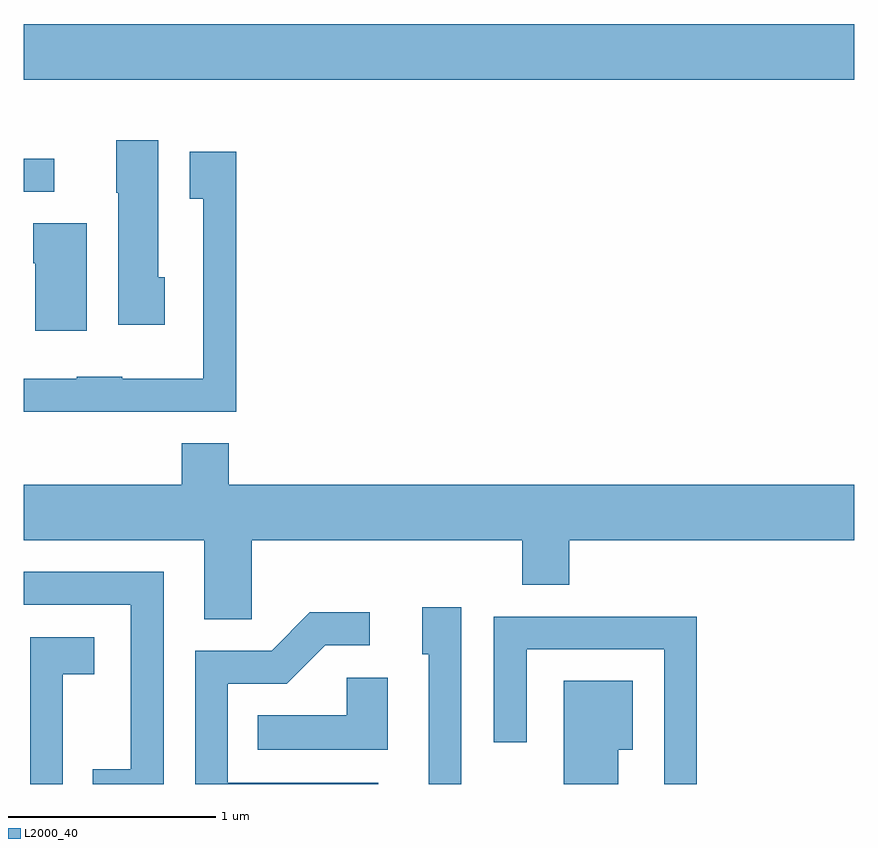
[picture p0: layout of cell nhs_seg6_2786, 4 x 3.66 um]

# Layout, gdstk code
import gdstk
lib = gdstk.Library(unit=1e-6, precision=1e-09)
def R(c, l, rs):  # rectangles x0, y0, x1, y1
    for r in rs: c.add(gdstk.rectangle(r[:2], r[2:], *l))
def P(c, l, *ps):  # polygons
    for p in ps: c.add(gdstk.Polygon(p, *l))
L2000_40 = (2000, 40)

nhs_seg6_2786 = lib.new_cell('nhs_seg6_2786')
R(nhs_seg6_2786, L2000_40, [(269.611,1585.016,269.758,1585.174), (269.611,1585.556,273.611,1585.824)])
P(nhs_seg6_2786, L2000_40, [(270.289,1584.604),(270.259,1584.604),(270.259,1585.264),(270.056,1585.264),(270.056,1585.01),(270.066,1585.01),(270.066,1584.376),(270.289,1584.376)],
  [(270.634,1585.209),(270.411,1585.209),(270.411,1584.981),(270.476,1584.981),(270.476,1584.114),(270.085,1584.114),(270.085,1584.124),(269.865,1584.124),(269.865,1584.114),(269.611,1584.114),(269.611,1583.956),(270.634,1583.956)],
  [(269.914,1584.864),(269.656,1584.864),(269.656,1584.67),(269.666,1584.67),(269.666,1584.346),(269.914,1584.346)],
  [(270.709,1583.336),(272.011,1583.336),(272.011,1583.121),(272.239,1583.121),(272.239,1583.336),(273.611,1583.336),(273.611,1583.604),(270.599,1583.604),(270.599,1583.804),(270.371,1583.804),(270.371,1583.604),(269.611,1583.604),(269.611,1583.336),(270.481,1583.336),(270.481,1582.956),(270.709,1582.956)],
  [(270.284,1583.184),(269.611,1583.184),(269.611,1583.026),(270.126,1583.026),(270.126,1582.234),(269.943,1582.234),(269.943,1582.162),(270.284,1582.162)],
  [(271.719,1583.014),(271.531,1583.014),(271.531,1582.786),(271.561,1582.786),(271.561,1582.162),(271.719,1582.162)],
  [(271.318,1582.169),(270.594,1582.169),(270.594,1582.646),(270.877,1582.646),(271.062,1582.831),(271.278,1582.831),(271.278,1582.989),(270.989,1582.989),(270.804,1582.804),(270.436,1582.804),(270.436,1582.162),(271.318,1582.162)],
  [(272.854,1582.969),(271.876,1582.969),(271.876,1582.363),(272.034,1582.363),(272.034,1582.811),(272.696,1582.811),(272.696,1582.162),(272.854,1582.162)],
  [(269.799,1582.691),(269.949,1582.691),(269.949,1582.869),(269.641,1582.869),(269.641,1582.162),(269.799,1582.162)],
  [(271.364,1582.674),(271.166,1582.674),(271.166,1582.494),(270.738,1582.494),(270.738,1582.326),(271.364,1582.326)],
  [(272.474,1582.326),(272.544,1582.326),(272.544,1582.659),(272.211,1582.659),(272.211,1582.162),(272.474,1582.162)])

lib.write_gds('nhs_seg6_2786.gds')
